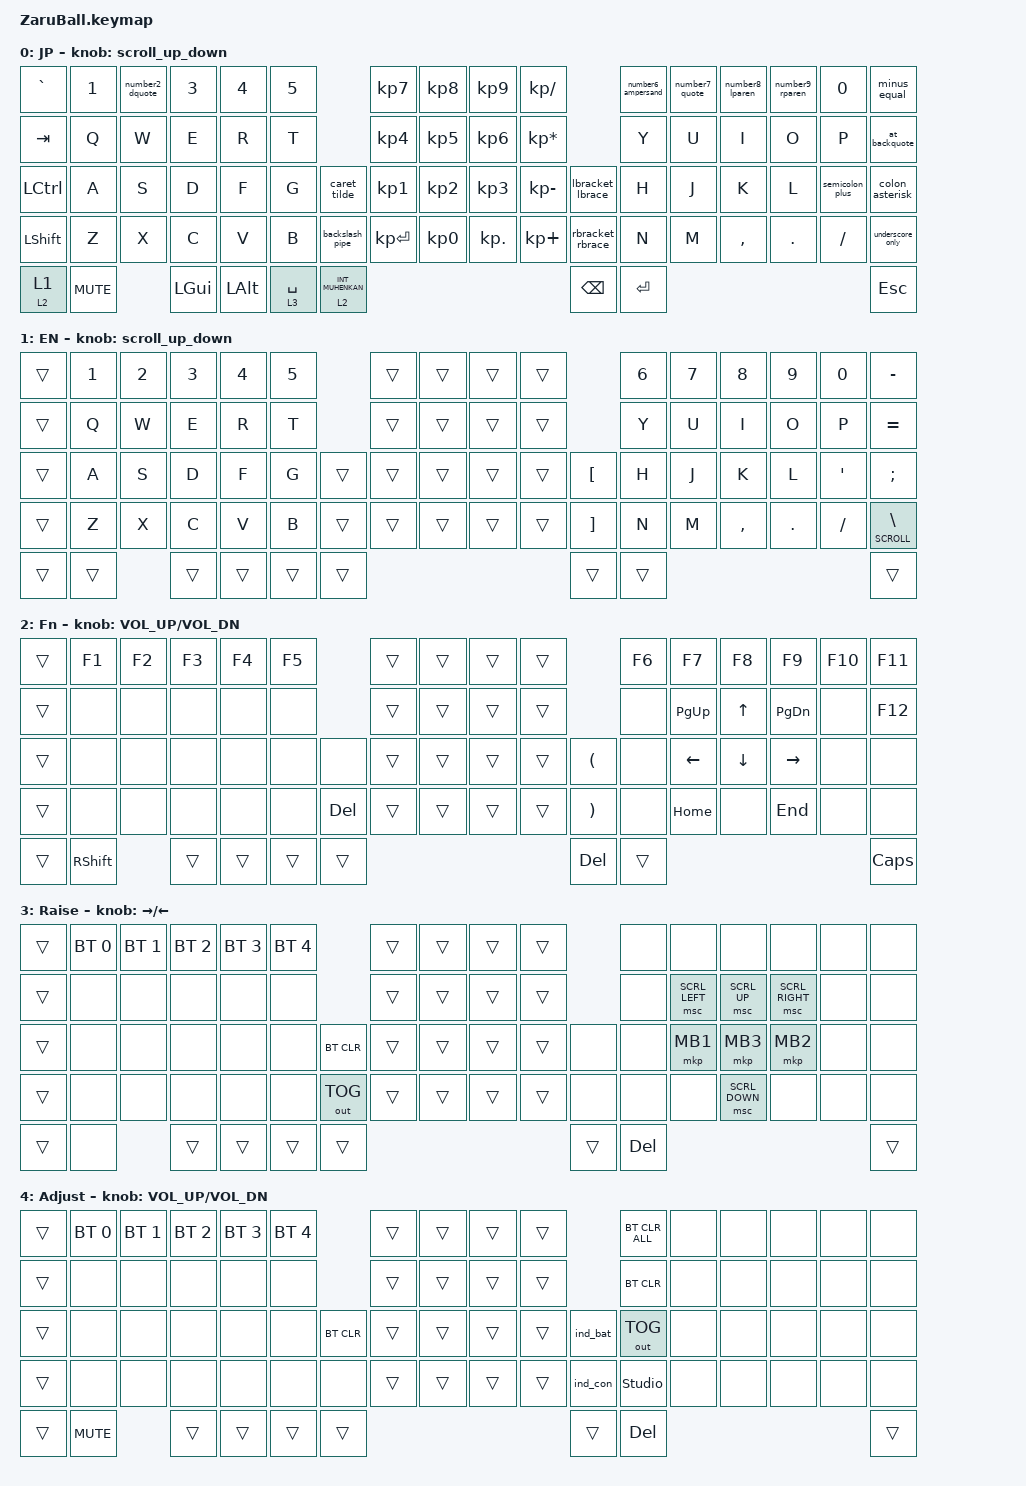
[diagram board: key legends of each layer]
//#include <dt-bindings/zmk/mouse.h>

#include <behaviors/rgbled_widget.dtsi>
#include <input/processors.dtsi>
#include <dt-bindings/zmk/input_transform.h>
#include <behaviors.dtsi>
#include <dt-bindings/zmk/bt.h>
#include <dt-bindings/zmk/keys.h>
#include <dt-bindings/zmk/outputs.h>
#include <dt-bindings/zmk/pointing.h>

#define BASE     0
#define MOUSE    1
#define LOWER    2
#define RAISE    3
#define ADJUST   4
#define SCROLL   2
#define JP_DQUOTE       AT                // "
#define JP_AMPERSAND    CARET             // &
#define JP_QUOTE        AMPERSAND         // '
#define JP_EQUAL        UNDER             // =
#define JP_CARET        EQUAL             // ^
#define JP_YEN          0x89              // ¥
#define JP_PLUS         COLON             // +
#define JP_TILDE        PLUS              // ~
#define JP_PIPE         LS(0x89)          // |
#define JP_AT           LEFT_BRACKET      // @
#define JP_COLON        SINGLE_QUOTE      // :
#define JP_ASTERISK     DOUBLE_QUOTES     // *
#define JP_BACKQUOTE    LEFT_BRACE        // `
#define JP_UNDERSCORE   LS(0x87)          // _
#define JP_LBRACKET     RIGHT_BRACKET     // [
#define JP_RBRACKET     BACKSLASH         // ]
#define JP_LPAREN       ASTERISK          // (
#define JP_RPAREN       LEFT_PARENTHESIS  // )
#define JP_LBRACE       RIGHT_BRACE       // {
#define JP_RBRACE       PIPE              // }
#define JP_KANA         LANGUAGE_1        // かな
#define JP_EISU         LANGUAGE_2        // 英数
#define JP_HANZEN       GRAVE             // 半角/全角

// スクロール量の設定

#define ZMK_POINTING_DEFAULT_SCRL_VAL 100

&trackball_listener {
    input-processors = <
                         &zip_xy_transform (INPUT_TRANSFORM_XY_SWAP | INPUT_TRANSFORM_Y_INVERT | INPUT_TRANSFORM_X_INVERT)
                         // &zip_temp_layer MOUSE 500
    >;

    scroller {
        layers = <SCROLL>;
        input-processors = <
                            &zip_xy_transform (INPUT_TRANSFORM_XY_SWAP | INPUT_TRANSFORM_X_INVERT)
                            &zip_xy_scaler 1 20
                            &zip_xy_to_scroll_mapper
        >;
    };
};

/ {
    conditional_layers {
        compatible = "zmk,conditional-layers";

        tri_layer {
            if-layers = <2 3>;
            then-layer = <4>;
        };
    };
};

/ {
    behaviors {
        jp_en_tog_or_fn: jp_en_tog_or_fn {
            compatible = "zmk,behavior-hold-tap";
            label = "JPEN_TOG_FN";

            /* ここが必須 */

            bindings = <&mo>, <&tog>;

            /* この hold-tap は「2引数」を取る */

            #binding-cells = <2>;
            tapping-term-ms = <200>;
            flavor = "tap-preferred"; /* 任意（好みで） */
        };

        // 2 / " （JP配列では Shift+2 が "）

        number2_dquote: number2_dquote {
            compatible = "zmk,behavior-mod-morph";
            #binding-cells = <0>;
            bindings = <&kp NUMBER_2>, <&kp JP_DQUOTE>;

            mods = <(MOD_LSFT | MOD_RSFT)>;
        };

        // 6 / & （JP配列では Shift+6 が &）

        number6_ampersand: number6_ampersand {
            compatible = "zmk,behavior-mod-morph";
            #binding-cells = <0>;
            bindings = <&kp NUMBER_6>, <&kp JP_AMPERSAND>;

            mods = <(MOD_LSFT | MOD_RSFT)>;
        };

        // 7 / ' （JP配列では Shift+7 が '）

        number7_quote: number7_quote {
            compatible = "zmk,behavior-mod-morph";
            #binding-cells = <0>;
            bindings = <&kp NUMBER_7>, <&kp JP_QUOTE>;

            mods = <(MOD_LSFT | MOD_RSFT)>;
        };

        // 8 / ( （JP配列では Shift+8 が (）

        number8_lparen: number8_lparen {
            compatible = "zmk,behavior-mod-morph";
            #binding-cells = <0>;
            bindings = <&kp NUMBER_8>, <&kp JP_LPAREN>;

            mods = <(MOD_LSFT | MOD_RSFT)>;
        };

        // 9 / ) （JP配列では Shift+9 が )）

        number9_rparen: number9_rparen {
            compatible = "zmk,behavior-mod-morph";
            #binding-cells = <0>;
            bindings = <&kp NUMBER_9>, <&kp JP_RPAREN>;

            mods = <(MOD_LSFT | MOD_RSFT)>;
        };

        // 既存：US バックスラッシュ キーで ¥ / | を出す

        backslash_pipe: backslash_pipe {
            compatible = "zmk,behavior-mod-morph";
            #binding-cells = <0>;
            bindings = <&kp JP_YEN>, <&kp JP_PIPE>;

            mods = <(MOD_LSFT | MOD_RSFT)>;
        };

        // - / = （JP配列では Shift+Minus が =）

        minus_equal: minus_equal {
            compatible = "zmk,behavior-mod-morph";
            #binding-cells = <0>;

            // 通常: - , Shift時: =

            bindings = <&kp MINUS>, <&kp JP_EQUAL>;

            mods = <(MOD_LSFT | MOD_RSFT)>;
        };

        // ^ / ~ （JP配列の「^/~」キー相当）

        caret_tilde: caret_tilde {
            compatible = "zmk,behavior-mod-morph";
            #binding-cells = <0>;

            // 通常: ^ , Shift時: ~

            bindings = <&kp JP_CARET>, <&kp JP_TILDE>;

            mods = <(MOD_LSFT | MOD_RSFT)>;
        };

        // @ / ` （JP配列では @ と ` が同じキーに乗っている）

        at_backquote: at_backquote {
            compatible = "zmk,behavior-mod-morph";
            #binding-cells = <0>;

            // 通常: @ , Shift時: `

            bindings = <&kp JP_AT>, <&kp JP_BACKQUOTE>;

            mods = <(MOD_LSFT | MOD_RSFT)>;
        };

        // ; / + （JP配列では Shift+; が +）

        semicolon_plus: semicolon_plus {
            compatible = "zmk,behavior-mod-morph";
            #binding-cells = <0>;
            bindings = <&kp SEMICOLON>, <&kp JP_PLUS>;

            mods = <(MOD_LSFT | MOD_RSFT)>;
        };

        // : / * （JP配列の「:/*」キー相当）

        colon_asterisk: colon_asterisk {
            compatible = "zmk,behavior-mod-morph";
            #binding-cells = <0>;

            // 通常: : , Shift時: *

            bindings = <&kp JP_COLON>, <&kp JP_ASTERISK>;

            mods = <(MOD_LSFT | MOD_RSFT)>;
        };

        // [ / { （JP配列での [ / { のペア）

        lbracket_lbrace: lbracket_lbrace {
            compatible = "zmk,behavior-mod-morph";
            #binding-cells = <0>;

            // 通常: [ , Shift時: {

            bindings = <&kp JP_LBRACKET>, <&kp JP_LBRACE>;

            mods = <(MOD_LSFT | MOD_RSFT)>;
        };

        // ] / } （JP配列での ] / } のペア）

        rbracket_rbrace: rbracket_rbrace {
            compatible = "zmk,behavior-mod-morph";
            #binding-cells = <0>;

            // 通常: ] , Shift時: }

            bindings = <&kp JP_RBRACKET>, <&kp JP_RBRACE>;

            mods = <(MOD_LSFT | MOD_RSFT)>;
        };

        // 必要なら、_ 専用キー（Shift有無で同じ挙動）

        underscore_only: underscore_only {
            compatible = "zmk,behavior-mod-morph";
            #binding-cells = <0>;

            // 通常/Shift時ともに _

            bindings = <&kp JP_UNDERSCORE>, <&kp JP_UNDERSCORE>;

            mods = <(MOD_LSFT | MOD_RSFT)>;
        };

        // スクロール用のbehaviorの設定

        scroll_down_up: behavior_sensor_rotate_mouse_wheel_down_up {
            compatible = "zmk,behavior-sensor-rotate";
            #sensor-binding-cells = <0>;
            bindings = <&msc SCRL_DOWN>, <&msc SCRL_UP>;

            tap-ms = <20>; // スクロールのタップ時間
        };

        scroll_up_down: behavior_sensor_rotate_mouse_wheel_up_down {
            compatible = "zmk,behavior-sensor-rotate";
            #sensor-binding-cells = <0>;
            bindings = <&msc SCRL_UP>, <&msc SCRL_DOWN>;

            tap-ms = <20>; // スクロールのタップ時間
        };

        td0: tap_dance_0 {
            compatible = "zmk,behavior-tap-dance";
            #binding-cells = <0>;
            tapping-term-ms = <200>;
            bindings = <&mt LALT LANG2>, <&mo RAISE>, <&mo MOUSE>;
        };

        td1: tap_dance_1 {
            compatible = "zmk,behavior-tap-dance";
            #binding-cells = <0>;
            tapping-term-ms = <200>;
            bindings = <&mt RCTL LANG1>, <&mo RAISE>, <&mo MOUSE>;
        };

        // Customed Hold-Tap for SandS

        SandS: SandS {
            compatible = "zmk,behavior-hold-tap";
            #binding-cells = <2>;
            flavor = "tap-unless-interrupted";
            tapping-term-ms = <500>;
            quick-tap-ms = <500>;
            bindings = <&kp>, <&kp>;

            display-name = "SandS";
        };
    };
};

&sl { release-after-ms = <250>; }; // time needed for double click (for mkp_exit_AML)
/ {
    macros {
        // When in AML, move to default layer when key (except mouse button) pressed

        to_layer_0: to_layer_0 {
            compatible = "zmk,behavior-macro-one-param";
            #binding-cells = <1>;
            bindings = <&tog MOUSE &macro_param_1to1 &kp MACRO_PLACEHOLDER>;
            label = "TO_layer_0";
        };

        // When LCLK pressed, exit AML (after 250ms cause by sticky layer

        mkp_exit_AML: mkp_exit_AML {
            compatible = "zmk,behavior-macro-one-param";
            #binding-cells = <1>;
            bindings =
                <&macro_press>,
                <&macro_param_1to1 &mkp MACRO_PLACEHOLDER>,
                <&macro_pause_for_release>,
                <&macro_release>,
                <&macro_param_1to1 &mkp MACRO_PLACEHOLDER>,
                <&macro_tap>,
                <&sl MOUSE>;

            label = "MKP_EXIT_AML";
        };
    };
};

/ {
    keymap {
        compatible = "zmk,keymap";

        japanese_layer {
            display-name = "JP";
            sensor-bindings = <&scroll_up_down>;
            bindings = <
&kp GRAVE             &kp N1      &number2_dquote  &kp N3        &kp N4        &kp N5                             &kp KP_N7     &kp KP_N8  &kp KP_N9   &kp KP_DIVIDE                        &number6_ampersand  &number7_quote  &number8_lparen  &number9_rparen  &kp N0           &minus_equal
&kp TAB               &kp Q       &kp W            &kp E         &kp R         &kp T                              &kp KP_N4     &kp KP_N5  &kp KP_N6   &kp KP_MULTIPLY                      &kp Y               &kp U           &kp I            &kp O            &kp P            &at_backquote
&kp LCTRL             &kp A       &kp S            &kp D         &kp F         &kp G        &caret_tilde          &kp KP_N1     &kp KP_N2  &kp KP_N3   &kp KP_MINUS       &lbracket_lbrace  &kp H               &kp J           &kp K            &kp L            &semicolon_plus  &colon_asterisk
&kp LSHFT             &kp Z       &kp X            &kp C         &kp V         &kp B        &backslash_pipe       &kp KP_ENTER  &kp KP_N0  &kp KP_DOT  &kp KP_PLUS        &rbracket_rbrace  &kp N               &kp M           &kp COMMA        &kp DOT          &kp FSLH         &underscore_only
&jp_en_tog_or_fn 2 1  &kp C_MUTE                   &kp LEFT_GUI  &kp LEFT_ALT  &lt 3 SPACE  &lt 2 INT_MUHENKAN                                                            &kp BACKSPACE     &kp ENTER                                                                              &kp ESCAPE
            >;
        };

        english_layer {
            display-name = "EN";
            sensor-bindings = <&scroll_up_down>;
            bindings = <
&trans  &kp N1  &kp N2  &kp N3  &kp N4  &kp N5            &trans  &trans  &trans  &trans                       &kp N6  &kp N7  &kp N8     &kp N9      &kp N0            &kp MINUS
&trans  &kp Q   &kp W   &kp E   &kp R   &kp T             &trans  &trans  &trans  &trans                       &kp Y   &kp U   &kp I      &kp O       &kp P             &kp EQUAL
&trans  &kp A   &kp S   &kp D   &kp F   &kp G   &trans    &trans  &trans  &trans  &trans    &kp LEFT_BRACKET   &kp H   &kp J   &kp K      &kp L       &kp SINGLE_QUOTE  &kp SEMICOLON
&trans  &kp Z   &kp X   &kp C   &kp V   &kp B   &trans    &trans  &trans  &trans  &trans    &kp RIGHT_BRACKET  &kp N   &kp M   &kp COMMA  &kp PERIOD  &kp SLASH         &lt SCROLL BACKSLASH
&trans  &trans          &trans  &trans  &trans  &trans                                      &trans             &trans                                                   &trans
            >;
        };

        function_layer {
            display-name = "Fn";
            sensor-bindings = <&inc_dec_kp C_VOL_UP C_VOL_DN>;
            bindings = <
&trans  &kp F1     &kp F2  &kp F3  &kp F4  &kp F5             &trans  &trans  &trans  &trans              &kp F6  &kp F7       &kp F8    &kp F9         &kp F10  &kp F11
&trans  &none      &none   &none   &none   &none              &trans  &trans  &trans  &trans              &none   &kp PAGE_UP  &kp UP    &kp PAGE_DOWN  &none    &kp F12
&trans  &none      &none   &none   &none   &none   &none      &trans  &trans  &trans  &trans    &kp LPAR  &none   &kp LEFT     &kp DOWN  &kp RIGHT      &none    &none
&trans  &none      &none   &none   &none   &none   &kp DEL    &trans  &trans  &trans  &trans    &kp RPAR  &none   &kp HOME     &none     &kp END        &none    &none
&trans  &kp RSHFT          &trans  &trans  &trans  &trans                                       &kp DEL   &trans                                                 &kp CAPSLOCK
            >;
        };

        raise_layer {
            display-name = "Raise";
            sensor-bindings = <&inc_dec_kp RIGHT LEFT>;
            bindings = <
&trans  &bt BT_SEL 0  &bt BT_SEL 1  &bt BT_SEL 2  &bt BT_SEL 3  &bt BT_SEL 4                  &trans  &trans  &trans  &trans            &none    &none           &none           &none            &none  &none
&trans  &none         &none         &none         &none         &none                         &trans  &trans  &trans  &trans            &none    &msc SCRL_LEFT  &msc SCRL_UP    &msc SCRL_RIGHT  &none  &none
&trans  &none         &none         &none         &none         &none         &bt BT_CLR      &trans  &trans  &trans  &trans    &none   &none    &mkp MB1        &mkp MB3        &mkp MB2         &none  &none
&trans  &none         &none         &none         &none         &none         &out OUT_TOG    &trans  &trans  &trans  &trans    &none   &none    &none           &msc SCRL_DOWN  &none            &none  &none
&trans  &none                       &trans        &trans        &trans        &trans                                            &trans  &kp DEL                                                          &trans
            >;
        };

        adjust_layer {
            display-name = "Adjust";
            sensor-bindings = <&inc_dec_kp C_VOL_UP C_VOL_DN>;
            bindings = <
&trans  &bt BT_SEL 0  &bt BT_SEL 1  &bt BT_SEL 2  &bt BT_SEL 3  &bt BT_SEL 4                &trans  &trans  &trans  &trans              &bt BT_CLR_ALL  &none  &none  &none  &none  &none
&trans  &none         &none         &none         &none         &none                       &trans  &trans  &trans  &trans              &bt BT_CLR      &none  &none  &none  &none  &none
&trans  &none         &none         &none         &none         &none         &bt BT_CLR    &trans  &trans  &trans  &trans    &ind_bat  &out OUT_TOG    &none  &none  &none  &none  &none
&trans  &none         &none         &none         &none         &none         &none         &trans  &trans  &trans  &trans    &ind_con  &studio_unlock  &none  &none  &none  &none  &none
&trans  &kp C_MUTE                  &trans        &trans        &trans        &trans                                          &trans    &kp DEL                                     &trans
            >;
        };

        // Extra layer can be added in ZMK STUDIO

        extra1 { status = "reserved"; };

        extra2 { status = "reserved"; };
    };
};
